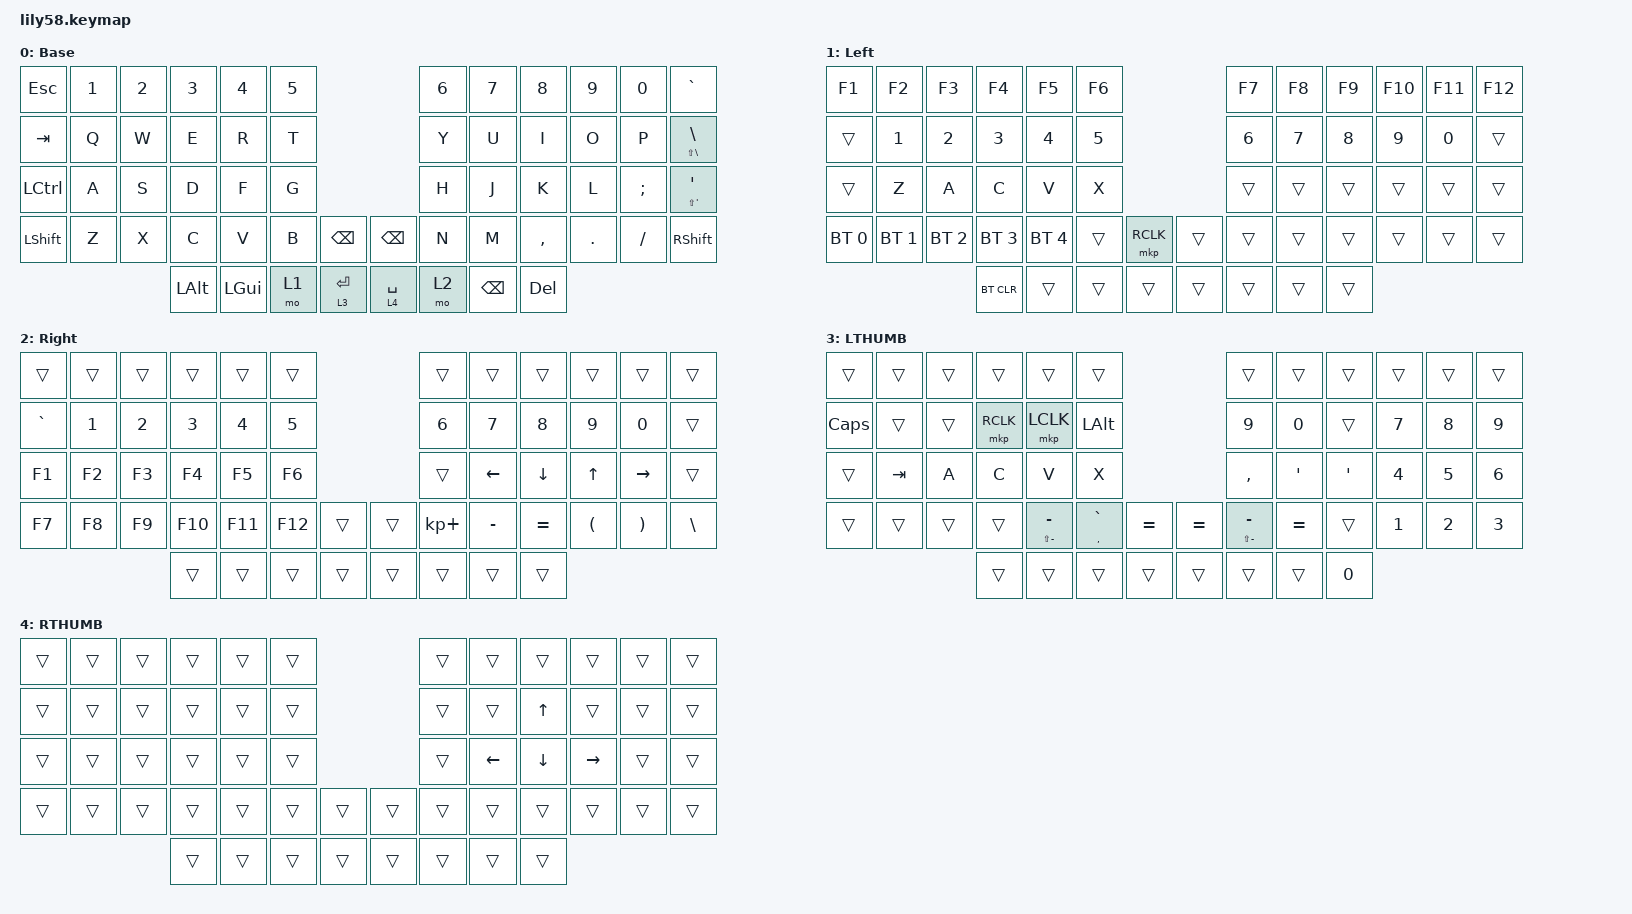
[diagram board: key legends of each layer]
/*
 * Copyright (c) 2020 The ZMK Contributors
 *
 * SPDX-License-Identifier: MIT
 */

#include <behaviors.dtsi>
#include <dt-bindings/zmk/bt.h>
#include <dt-bindings/zmk/keys.h>
#include <dt-bindings/zmk/pointing.h>

/ {
    keymap {
        compatible = "zmk,keymap";

        default_layer {
            display-name = "Base";
            // ------------------------------------------------------------------------------------------------------------
            // |  ESC  |  1  |  2  |  3   |  4   |  5   |                   |  6   |  7    |  8    |  9   |   0   |   `   |
            // |  TAB  |  Q  |  W  |  E   |  R   |  T   |                   |  Y   |  U    |  I    |  O   |   P   | \ (|) |
            // |  CTRL |  A  |  S  |  D   |  F   |  G   |                   |  H   |  J    |  K    |  L   |   ;   | ' (") |
            // | SHIFT |  Z  |  X  |  C   |  V   |  B   |  BSPC  |  |  BSPC |  N   |  M    |  ,    |  .   |   /   | SHIFT |
            //                     | ALT  | GUI  | LEFT | ENT/LT |  |SPC/RT | RIGHT| BSPC  | DEL   |
            // (x) = sent when held

            bindings = <
&kp ESC    &kp N1  &kp N2  &kp N3    &kp N4    &kp N5                              &kp N6  &kp N7    &kp N8      &kp N9   &kp N0    &kp GRAVE
&kp TAB    &kp Q   &kp W   &kp E     &kp R     &kp T                               &kp Y   &kp U     &kp I       &kp O    &kp P     &mt LS(BSLH) BSLH
&kp LCTRL  &kp A   &kp S   &kp D     &kp F     &kp G                               &kp H   &kp J     &kp K       &kp L    &kp SEMI  &mt LS(SQT) SQT
&kp LSHFT  &kp Z   &kp X   &kp C     &kp V     &kp B   &kp BSPC       &kp BSPC     &kp N   &kp M     &kp COMMA   &kp DOT  &kp FSLH  &kp RSHFT
                           &kp LALT  &kp LGUI  &mo 1   &lt 3 ENTER    &lt 4 SPACE  &mo 2   &kp BSPC  &kp DELETE
            >;
        };

        lower_layer {
            display-name = "Left";
            // ------------------------------------------------------------------------------------------------------------
            // |  F1   |  F2 |  F3 |  F4  |  F5  |  F6  |                   |  F7  |  F8   |  F9   |  F10 |  F11  |  F12  |
            // |       |  1  |  2  |  3   |  4   |  5   |                   |  6   |  7    |  8    |  9   |   0   |       |
            // |       |  Z  |  A  |  C   |  V   |  X   |                   |      |       |       |      |       |       |
            // |  BT0  | BT1 | BT2 | BT3  | BT4  |      |  RCLK  |  |       |      |       |       |      |       |       |
            //                     |BTCLR |      |      |        |  |       |      |       |       |

            bindings = <
&kp F1        &kp F2        &kp F3        &kp F4        &kp F5        &kp F6                            &kp F7     &kp F8     &kp F9     &kp F10   &kp F11   &kp F12
&trans        &kp N1        &kp N2        &kp N3        &kp N4        &kp N5                            &kp N6     &kp N7     &kp N8     &kp N9    &kp N0    &trans
&trans        &kp Z         &kp A         &kp C         &kp V         &kp X                             &trans     &trans     &trans     &trans    &trans    &trans
&bt BT_SEL 0  &bt BT_SEL 1  &bt BT_SEL 2  &bt BT_SEL 3  &bt BT_SEL 4  &trans  &mkp RCLK        &trans  &trans     &trans     &trans     &trans    &trans    &trans
                                          &bt BT_CLR    &trans        &trans  &trans           &trans  &trans     &trans     &trans
            >;
        };

        raise_layer {
            display-name = "Right";
            // ------------------------------------------------------------------------------------------------------------
            // |       |     |     |      |      |      |                   |      |       |       |      |       |       |
            // |   `   |  1  |  2  |  3   |  4   |  5   |                   |  6   |   7   |   8   |  9   |   0   |       |
            // |   F1  |  F2 |  F3 |  F4  |  F5  |  F6  |                   |      |   <-  |   v   |  ^   |  ->   |       |
            // |   F7  |  F8 |  F9 |  F10 |  F11 |  F12 |        |  |       |  +   |   -   |   =   |  (   |   )   |   \   |
            //                     |      |      |      |        |  |       |      |       |       |

            bindings = <
&trans     &trans  &trans  &trans   &trans   &trans                     &trans       &trans     &trans     &trans    &trans     &trans
&kp GRAVE  &kp N1  &kp N2  &kp N3   &kp N4   &kp N5                     &kp N6       &kp N7     &kp N8     &kp N9    &kp N0     &trans
&kp F1     &kp F2  &kp F3  &kp F4   &kp F5   &kp F6                     &trans       &kp LEFT   &kp DOWN   &kp UP    &kp RIGHT  &trans
&kp F7     &kp F8  &kp F9  &kp F10  &kp F11  &kp F12  &trans    &trans  &kp KP_PLUS  &kp MINUS  &kp EQUAL  &kp LPAR  &kp RPAR   &kp BSLH
                           &trans   &trans   &trans   &trans    &trans  &trans       &trans     &trans
            >;
        };

        layer_3 {
            display-name = "LTHUMB";
            // ------------------------------------------------------------------------------------------------------------
            // |       |     |     |      |      |      |                   |      |       |       |      |       |       |
            // |  CAPS |     |     | RCLK | LCLK | ALT  |                   |  9   |   0   |       |  7   |   8   |   9   |
            // |       | TAB |  A  |  C   |  V   |  X   |                   |  ,   |   '   |   '   |  4   |   5   |   6   |
            // |       |     |     |      | - (_)|` (,) |   =    |  |   =   | - (_)|   =   |       |  1   |   2   |   3   |
            //                     |      |      |      |        |  |       |      |       |   0   |
            // (x) = sent when held

            bindings = <
&trans     &trans   &trans  &trans     &trans               &trans                                     &trans               &trans     &trans   &trans  &trans  &trans
&kp CAPS   &trans   &trans  &mkp RCLK  &mkp LCLK            &kp LALT                                   &kp N9               &kp N0     &trans   &kp N7  &kp N8  &kp N9
&trans     &kp TAB  &kp A   &kp C      &kp V                &kp X                                      &kp COMMA            &kp SQT    &kp SQT  &kp N4  &kp N5  &kp N6
&trans     &trans   &trans  &trans     &mt LS(MINUS) MINUS  &mt COMMA GRAVE  &kp EQUAL      &kp EQUAL  &mt LS(MINUS) MINUS  &kp EQUAL  &trans   &kp N1  &kp N2  &kp N3
                            &trans     &trans               &trans           &trans         &trans     &trans               &trans     &kp N0
            >;
        };

        layer_4 {
            display-name = "RTHUMB";
            // ------------------------------------------------------------------------------------------------------------
            // |       |     |     |      |      |      |                   |      |       |       |      |       |       |
            // |       |     |     |      |      |      |                   |      |       |   ^   |      |       |       |
            // |       |     |     |      |      |      |                   |      |  <-   |   v   |  ->  |       |       |
            // |       |     |     |      |      |      |        |  |       |      |       |       |      |       |       |
            //                     |      |      |      |        |  |       |      |       |       |

            bindings = <
&trans  &trans  &trans  &trans  &trans  &trans                    &trans  &trans    &trans    &trans     &trans  &trans
&trans  &trans  &trans  &trans  &trans  &trans                    &trans  &trans    &kp UP    &trans     &trans  &trans
&trans  &trans  &trans  &trans  &trans  &trans                    &trans  &kp LEFT  &kp DOWN  &kp RIGHT  &trans  &trans
&trans  &trans  &trans  &trans  &trans  &trans  &trans    &trans  &trans  &trans    &trans    &trans     &trans  &trans
                        &trans  &trans  &trans  &trans    &trans  &trans  &trans    &trans
            >;
        };
    };
};
